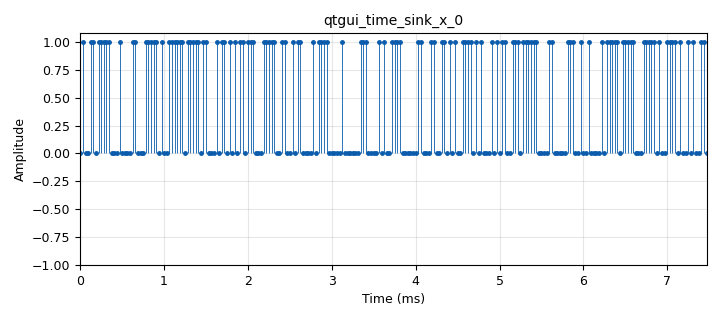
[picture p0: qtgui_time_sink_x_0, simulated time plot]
options:
  parameters:
    author: Steven Knudsen
    description: PDU generation example
    generate_options: qt_gui
    id: pduexample
    output_language: python
    title: PDU  Example
  states: {}

blocks:
- name: interval
  id: variable
  parameters:
    value: '0.400'
  states: {}
- name: pdu_length_bytes
  id: variable_qtgui_range
  parameters:
    label: PDU Length (bytes)
    start: '0'
    step: '1'
    stop: '128'
    value: '15'
  states: {}
- name: samp_rate
  id: variable
  parameters:
    value: '32000'
  states: {}
- name: val
  id: variable_qtgui_range
  parameters:
    label: KEY1 Metadata Value
    start: '0'
    step: '0.1'
    stop: '500.0'
    value: '123.4'
  states: {}
- name: blocks_char_to_float_0
  id: blocks_char_to_float
  parameters:
    scale: '1'
  states: {}
- name: blocks_packed_to_unpacked_xx_0
  id: blocks_packed_to_unpacked_xx
  parameters:
    bits_per_chunk: '1'
    endianness: gr.GR_MSB_FIRST
    type: byte
  states: {}
- name: msg_dbg_0
  id: blocks_message_debug
  parameters:
    comment: Print out the metadata dictionary.
  states: {}
- name: msg_strobe
  id: blocks_message_strobe
  parameters:
    comment: Emits pmt.PMT_T
    msg: pmt.PMT_T
    period: int(interval*1000)
  states: {}
- name: note_0_0
  id: note
  parameters:
    comment: |-
      This flowgraph highlights a number of useful PDU tools together.
      This flowgraph is not intended to do anything particularly useful
      other than serve as a reference / demonstration.
    note: SUMMARY
  states: {}
- name: pdu_pdu_to_stream_x_0
  id: pdu_pdu_to_stream_x
  parameters:
    early_behavior: pdu.EARLY_BURST_APPEND
    type: byte
  states: {state: disabled}
- name: pdu_pdu_to_tagged_stream_0
  id: pdu_pdu_to_tagged_stream
  parameters:
    tag: packet_len
    type: byte
  states: {}
- name: pdu_random_pdu_0
  id: pdu_random_pdu
  parameters:
    length_modulo: '1'
    mask: '0xFF'
    maxsize: pdu_length_bytes
    minsize: pdu_length_bytes
  states: {}
- name: qtgui_time_sink_x_0
  id: qtgui_time_sink_x
  parameters:
    marker1: '0'
    size: 15*8*2
    srate: samp_rate
    stemplot: 'True'
    tr_mode: qtgui.TRIG_MODE_TAG
    tr_tag: '"packet_len"'
    type: float
  states: {}
- name: satellites_sync_to_pdu_packed_0
  id: satellites_sync_to_pdu_packed
  parameters:
    packlen: '0'
    sync: '"00011010110011111111110000011101"'
    threshold: '4'
  states: {state: disabled}
- name: virtual_sink_0
  id: virtual_sink
  parameters:
    stream_id: '122'
  states: {}
- name: virtual_source_0
  id: virtual_source
  parameters:
    stream_id: '122'
  states: {}

connections:
- [blocks_char_to_float_0, '0', qtgui_time_sink_x_0, '0']
- [blocks_packed_to_unpacked_xx_0, '0', blocks_char_to_float_0, '0']
- [msg_strobe, strobe, pdu_random_pdu_0, generate]
- [pdu_pdu_to_tagged_stream_0, '0', blocks_packed_to_unpacked_xx_0, '0']
- [pdu_random_pdu_0, pdus, virtual_sink_0, '0']
- [virtual_source_0, '0', msg_dbg_0, print_pdu]
- [virtual_source_0, '0', pdu_pdu_to_tagged_stream_0, pdus]

metadata:
  file_format: 1
  grc_version: 3.10.2.0
